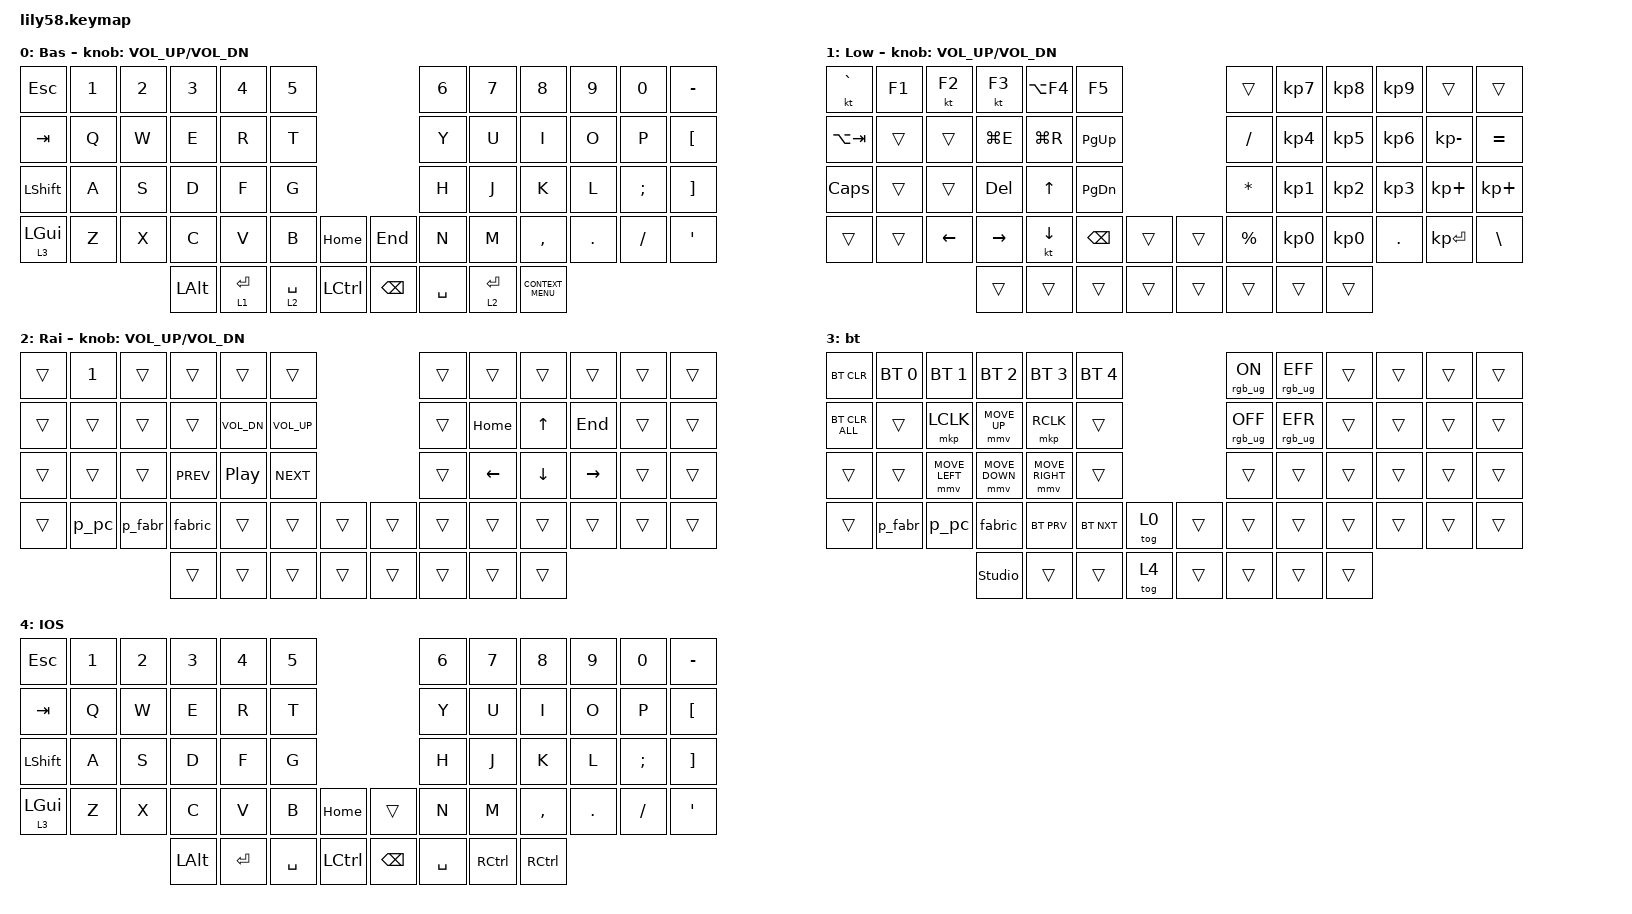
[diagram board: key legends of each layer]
/*
 * Copyright (c) 2020 The ZMK Contributors
 *
 * SPDX-License-Identifier: MIT
 */

#include <behaviors.dtsi>
#include <dt-bindings/zmk/bt.h>
#include <dt-bindings/zmk/keys.h>
#include <dt-bindings/zmk/pointing.h>
#include <dt-bindings/zmk/rgb.h>

/ {
    macros {
        fabric: fabric {
            compatible = "zmk,behavior-macro";
            #binding-cells = <0>;
            bindings = <&mkp MB2 &kp DOWN &kp DOWN &kp ENTER>;
            label = "FABRIC";
        };

        p_pc: pass_pc {
            compatible = "zmk,behavior-macro";
            #binding-cells = <0>;
            bindings = <&kp V &kp I &kp D &kp E &kp O>;
            label = "PASS_PC";
        };

        p_fabr: pass_fabr {
            compatible = "zmk,behavior-macro";
            #binding-cells = <0>;
            bindings = <&kp V &kp A &kp R &kp T &kp A &kp S &kp H &kp A>;
            label = "PASS_FABR";
        };
    };

    keymap {
        compatible = "zmk,keymap";

        default_layer {
            // ------------------------------------------------------------------------------------------------------------
            // |  ESC  |  1  |  2  |  3   |  4   |  5   |                   |  6   |  7    |  8    |  9   |   0   |   `   |
            // |  TAB  |  Q  |  W  |  E   |  R   |  T   |                   |  Y   |  U    |  I    |  O   |   P   |   -   |
            // |  CTRL |  A  |  S  |  D   |  F   |  G   |                   |  H   |  J    |  K    |  L   |   ;   |   '   |
            // | SHIFT |  Z  |  X  |  C   |  V   |  B   |   "["  |  |  "]"  |  N   |  M    |  ,    |  .   |   /   | SHIFT |
            //                     | ALT  | GUI  | LOWER|  SPACE |  | ENTER | RAISE| BSPC  | GUI   |

            display-name = "Bas";
            bindings = <
&kp ESC         &kp N1  &kp N2  &kp N3    &kp N4       &kp N5                                   &kp N6     &kp N7       &kp N8              &kp N9   &kp N0    &kp MINUS
&kp TAB         &kp Q   &kp W   &kp E     &kp R        &kp T                                    &kp Y      &kp U        &kp I               &kp O    &kp P     &kp LEFT_BRACKET
&kp LEFT_SHIFT  &kp A   &kp S   &kp D     &kp F        &kp G                                    &kp H      &kp J        &kp K               &kp L    &kp SEMI  &kp RIGHT_BRACKET
&lt 3 LEFT_GUI  &kp Z   &kp X   &kp C     &kp V        &kp B        &kp HOME     &kp END        &kp N      &kp M        &kp COMMA           &kp DOT  &kp FSLH  &kp SQT
                                &kp LALT  &lt 1 ENTER  &lt 2 SPACE  &kp LCTRL    &kp BACKSPACE  &kp SPACE  &lt 2 ENTER  &kp K_CONTEXT_MENU
            >;

            sensor-bindings = <&inc_dec_kp C_VOL_UP C_VOL_DN>;
        };

        lower_layer {
            // ------------------------------------------------------------------------------------------------------------
            // | BTCLR | BT1 | BT2 |  BT3 |  BT4 |  BT5 |                   |      |       |       |      |       |       |
            // |  F1   |  F2 |  F3 |  F4  |  F5  |  F6  |                   |  F7  |  F8   |  F9   |  F10 |  F11  |  F12  |
            // |   `   |  !  |  @  |  #   |  $   |  %   |                   |  ^   |  &    |  *    |  (   |   )   |   ~   |
            // |       |     |     |      |      |      |        |  |       |      |  _    |  +    |  {   |   }   |  "|"  |
            //                     |      |      |      |        |  |       |      |       |       |

            display-name = "Low";
            bindings = <
&kt GRAVE    &kp F1  &kt F2    &kt F3           &kp LA(F4)    &kp F5                           &trans        &kp KP_N7  &kp KP_N8  &kp KP_N9  &trans        &trans
&kp LA(TAB)  &trans  &trans    &kp LG(E)        &kp LG(R)     &kp PAGE_UP                      &kp SLASH     &kp KP_N4  &kp KP_N5  &kp KP_N6  &kp KP_MINUS  &kp EQUAL
&kp CAPS     &trans  &trans    &kp DELETE       &kp UP_ARROW  &kp PAGE_DOWN                    &kp ASTERISK  &kp KP_N1  &kp KP_N2  &kp KP_N3  &kp KP_PLUS   &kp KP_PLUS
&trans       &trans  &kp LEFT  &kp RIGHT_ARROW  &kt DOWN      &kp BACKSPACE  &trans    &trans  &kp PERCENT   &kp KP_N0  &kp KP_N0  &kp DOT    &kp KP_ENTER  &kp BSLH
                               &trans           &trans        &trans         &trans    &trans  &trans        &trans     &trans
            >;

            sensor-bindings = <&inc_dec_kp C_VOL_UP C_VOL_DN>;
        };

        raise_layer {
            // ------------------------------------------------------------------------------------------------------------
            // |       |     |     |      |      |      |                   |      |       |       |      |       |       |
            // |   `   |  1  |  2  |  3   |  4   |  5   |                   |  6   |   7   |   8   |  9   |   0   |       |
            // |   F1  |  F2 |  F3 |  F4  |  F5  |  F6  |                   |      |   <-  |   v   |  ^   |  ->   |       |
            // |   F7  |  F8 |  F9 |  F10 |  F11 |  F12 |        |  |       |  +   |   -   |   =   |  [   |   ]   |   \   |
            //                     |      |      |      |        |  |       |      |       |       |

            display-name = "Rai";
            bindings = <
&trans  &kp NUMBER_1  &trans   &trans      &trans            &trans                          &trans  &trans    &trans        &trans           &trans  &trans
&trans  &trans        &trans   &trans      &kp C_VOL_DN      &kp C_VOL_UP                    &trans  &kp HOME  &kp UP_ARROW  &kp END          &trans  &trans
&trans  &trans        &trans   &kp C_PREV  &kp C_PLAY_PAUSE  &kp C_NEXT                      &trans  &kp LEFT  &kp DOWN      &kp RIGHT_ARROW  &trans  &trans
&trans  &p_pc         &p_fabr  &fabric     &trans            &trans        &trans    &trans  &trans  &trans    &trans        &trans           &trans  &trans
                               &trans      &trans            &trans        &trans    &trans  &trans  &trans    &trans
            >;

            sensor-bindings = <&inc_dec_kp C_VOL_UP C_VOL_DN>;
        };

        bt {
            bindings = <
&bt BT_CLR      &bt BT_SEL 0  &bt BT_SEL 1    &bt BT_SEL 2    &bt BT_SEL 3     &bt BT_SEL 4                    &rgb_ug RGB_ON   &rgb_ug RGB_EFF  &trans  &trans  &trans  &trans
&bt BT_CLR_ALL  &trans        &mkp LCLK       &mmv MOVE_UP    &mkp RCLK        &trans                          &rgb_ug RGB_OFF  &rgb_ug RGB_EFR  &trans  &trans  &trans  &trans
&trans          &trans        &mmv MOVE_LEFT  &mmv MOVE_DOWN  &mmv MOVE_RIGHT  &trans                          &trans           &trans           &trans  &trans  &trans  &trans
&trans          &p_fabr       &p_pc           &fabric         &bt BT_PRV       &bt BT_NXT    &tog 0    &trans  &trans           &trans           &trans  &trans  &trans  &trans
                                              &studio_unlock  &trans           &trans        &tog 4    &trans  &trans           &trans           &trans
            >;
        };

        IOS {
            bindings = <
&kp ESC         &kp N1  &kp N2  &kp N3    &kp N4     &kp N5                            &kp N6     &kp N7     &kp N8     &kp N9   &kp N0    &kp MINUS
&kp TAB         &kp Q   &kp W   &kp E     &kp R      &kp T                             &kp Y      &kp U      &kp I      &kp O    &kp P     &kp LBKT
&kp LSHFT       &kp A   &kp S   &kp D     &kp F      &kp G                             &kp H      &kp J      &kp K      &kp L    &kp SEMI  &kp RBKT
&lt 3 LEFT_GUI  &kp Z   &kp X   &kp C     &kp V      &kp B      &kp HOME     &trans    &kp N      &kp M      &kp COMMA  &kp DOT  &kp FSLH  &kp APOS
                                &kp LALT  &kp ENTER  &kp SPACE  &kp LCTRL    &kp BSPC  &kp SPACE  &kp RCTRL  &kp RCTRL
            >;
        };
    };
};
